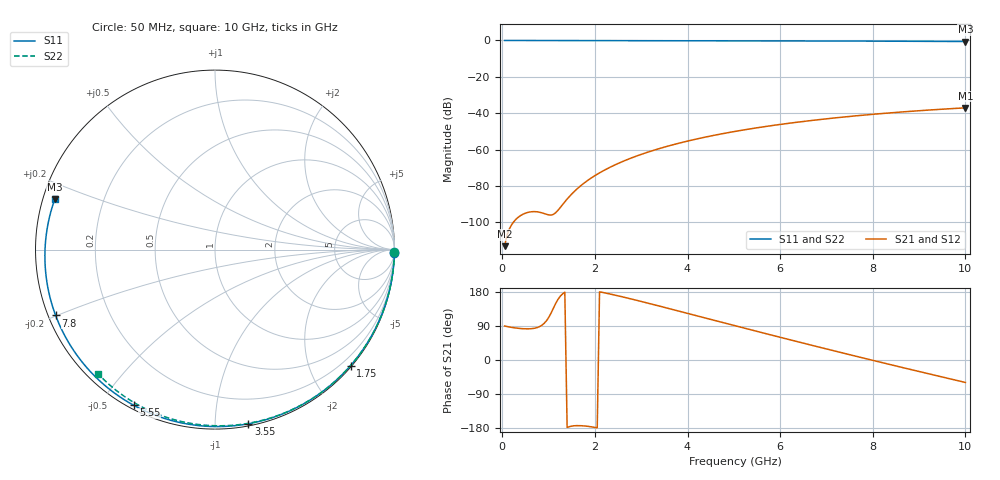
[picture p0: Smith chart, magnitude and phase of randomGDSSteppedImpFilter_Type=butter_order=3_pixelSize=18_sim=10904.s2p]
! freq	dB(S11)	phase(S11)	dB(S12)	phase(S12)
!  dB(S21)	phase(S21)	dB(S22)	phase(S22)
!S-par simulation data
#  GHz  S  DB  R 50
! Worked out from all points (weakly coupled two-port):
!   200 points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, 50 MHz to 10 GHz, reference 50 ohm
!   highest |S21| = -37.03 dB at 10 GHz (marker M1); lowest = -113.0 dB at 50 MHz (marker M2)
!   lowest |S11| = -0.6 dB at 10 GHz (marker M3), VSWR 30.08, Z = 1.7 + j7.67 ohm
!   |S11| at or under -10 dB: nowhere
!   |S22| runs from -0.4 to 0.0 dB; largest |S21 - S12| = 0
!   S11 on the Smith chart (normalised r, x): 50 MHz: 0, -96; 1.75 GHz: 0.02, -2.70; 3.55 GHz: 0.01, -1.21; 5.55 GHz: 0.01, -0.61; 7.8 GHz: 0.02, -0.20; 10 GHz: 0.03, +0.15
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0.05  -0.00 -1.2  -113.04 89.7  -113.04 89.7  -0.00 -0.8
0.4  -0.01 -9.4  -96.14 83.0  -96.14 83.0  -0.01 -6.1
0.8  -0.02 -18.8  -94.37 87.8  -94.37 87.8  -0.02 -12.3
1.2  -0.04 -28.1  -93.42 159.5  -93.42 159.5  -0.02 -18.3
1.65  -0.05 -38.3  -80.76 -173.2  -80.76 -173.2  -0.03 -25.1
1.7  -0.05 -39.5  -79.70 -173.4  -79.70 -173.4  -0.03 -25.8
1.75  -0.05 -40.6  -78.68 -173.8  -78.68 -173.8  -0.03 -26.6
2.05  -0.06 -47.3  -73.50 -178.9  -73.50 -178.9  -0.04 -31.0
2.45  -0.07 -56.0  -68.18 170.8  -68.18 170.8  -0.05 -36.9
2.9  -0.08 -65.7  -63.50 157.6  -63.50 157.6  -0.06 -43.5
3.4  -0.10 -76.1  -59.33 142.0  -59.33 142.0  -0.07 -50.6
3.55  -0.10 -79.1  -58.24 137.3  -58.24 137.3  -0.07 -52.7
4.3  -0.13 -94.1  -53.56 113.5  -53.56 113.5  -0.09 -63.1
5.05  -0.16 -108.4  -49.87 89.7  -49.87 89.7  -0.11 -73.2
5.55  -0.19 -117.6  -47.79 73.9  -47.79 73.9  -0.13 -79.8
6.15  -0.22 -128.4  -45.63 55.2  -45.63 55.2  -0.15 -87.5
6.7  -0.26 -138.2  -43.91 38.3  -43.91 38.3  -0.18 -94.4
7.25  -0.30 -147.9  -42.38 21.6  -42.38 21.6  -0.21 -101.1
7.8  -0.35 -157.5  -41.03 5.0  -41.03 5.0  -0.25 -107.7
8.35  -0.40 -167.3  -39.84 -11.3  -39.84 -11.3  -0.29 -114.2
9.2  -0.49 177.5  -38.25 -36.2  -38.25 -36.2  -0.36 -124.2
10  -0.58 162.5  -37.03 -59.3  -37.03 -59.3  -0.45 -133.4
